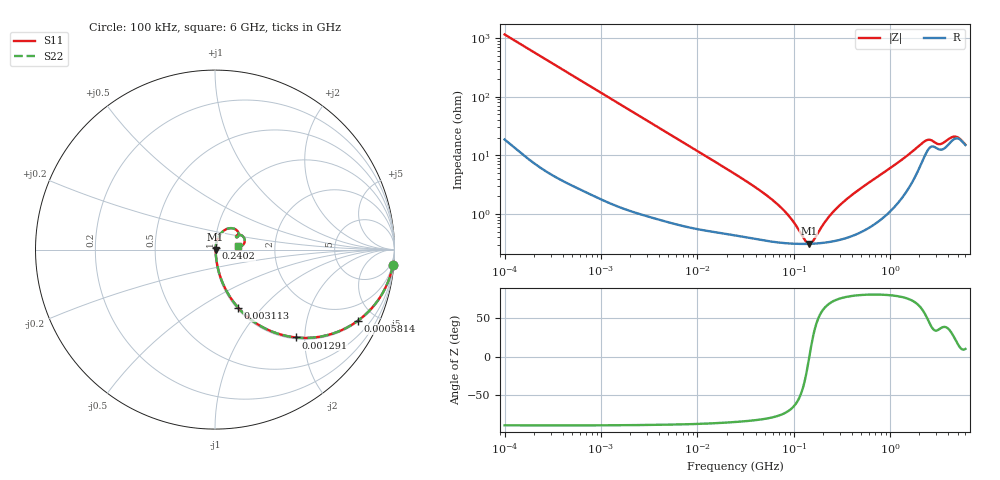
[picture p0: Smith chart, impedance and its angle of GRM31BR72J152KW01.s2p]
!Murata Part Number: GRM31BR72J152KW01
!These Parameters are Measured in Series Mode Connection
!Data Generated on Mar 30, 2021
!  o--ll--o
!Port1  Port2
!  o------o
!Operation Temp=25[degC], DC Bias Voltage=0[V]
!Freq. Start=100[kHz] Stop=6[GHz] 401[Steps]
# Hz S RI R 50
!Freq.(Hz) S11(Real) S11(Imag) S21(Real) S21(Imag) S12(Real) S12(Imag) S22(Real) S22(Imag)
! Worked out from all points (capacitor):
!   401 points, 100 kHz to 6 GHz, reference 50 ohm
!   read as one part in series: C = 1.39 nF near 105.7 kHz
!   lowest |Z| = 312 mohm at 142.4 MHz (marker M1)
!   series resonance near 144.6 MHz, so ESL is about 870 pH
!   S11 on the Smith chart (normalised r, x): 100 kHz: 1, -23; 581.4 kHz: 1.05, -3.98; 1.291 MHz: 1.03, -1.80; 3.113 MHz: 1.02, -0.75; 240.2 MHz: 1.01, +0.02; 6 GHz: 1.30, +0.05
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100000  0.991 -0.0865  0.00898 0.0865  0.00898 0.0865  0.991 -0.0865
284397  0.94 -0.2313  0.06 0.2313  0.06 0.2313  0.94 -0.2313
581439  0.7951 -0.3969  0.2049 0.3969  0.2049 0.3969  0.7951 -0.3969
631452  0.7676 -0.4155  0.2324 0.4155  0.2324 0.4155  0.7676 -0.4155
1290982  0.4491 -0.4893  0.5509 0.4893  0.5509 0.4893  0.4491 -0.4893
2060590  0.2473 -0.4217  0.7527 0.4217  0.7527 0.4217  0.2473 -0.4217
3112951  0.1299 -0.3244  0.8701 0.3244  0.8701 0.3244  0.1299 -0.3244
3987316  0.0859 -0.2669  0.9141 0.2669  0.9141 0.2669  0.0859 -0.2669
9100013  0.022 -0.1262  0.978 0.1262  0.978 0.1262  0.022 -0.1262
2.517799e7  0.00641 -0.046  0.9936 0.046  0.9936 0.046  0.00641 -0.046
7.160533e7  0.00342 -0.013  0.9966 0.013  0.9966 0.013  0.00342 -0.013
9.427557e7  0.00319 -0.00754  0.9968 0.00754  0.9968 0.00754  0.00319 -0.00754
1.311426e8  0.00309 -0.00168  0.9969 0.00168  0.9969 0.00168  0.00309 -0.00168
1.424229e8  0.0031 -0.000259  0.9969 0.000259  0.9969 0.000259  0.0031 -0.000259
1.546735e8  0.00312 0.00116  0.9969 -0.00116  0.9969 -0.00116  0.00312 0.00116
2.401829e8  0.00344 0.00909  0.9966 -0.00909  0.9966 -0.00909  0.00344 0.00909
3.940568e8  0.00457 0.0202  0.9954 -0.0202  0.9954 -0.0202  0.00457 0.0202
9.76689e8  0.0139 0.057  0.9861 -0.057  0.9861 -0.057  0.0139 0.057
2.355095e9  0.1136 0.1133  0.8864 -0.1133  0.8864 -0.1133  0.1136 0.1133
3.276068e9  0.1171 0.0718  0.8829 -0.0718  0.8829 -0.0718  0.1171 0.0718
4.68428e9  0.1651 0.0565  0.8349 -0.0565  0.8349 -0.0565  0.1651 0.0565
6e9  0.1307 0.0198  0.8693 -0.0198  0.8693 -0.0198  0.1307 0.0198
